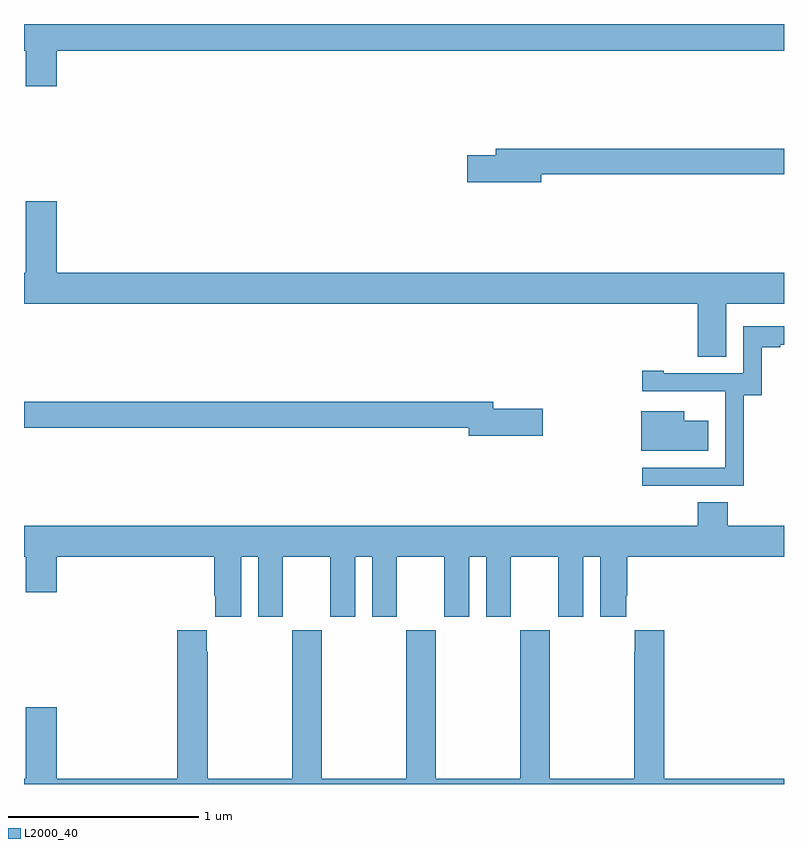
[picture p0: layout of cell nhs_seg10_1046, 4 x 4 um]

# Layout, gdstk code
import gdstk
lib = gdstk.Library(unit=1e-6, precision=1e-09)
def P(c, l, *ps):  # polygons
    for p in ps: c.add(gdstk.Polygon(p, *l))
L2000_40 = (2000, 40)

nhs_seg10_1046 = lib.new_cell('nhs_seg10_1046')
P(nhs_seg10_1046, L2000_40, [(165.172,1256.36),(169,1256.36),(169,1256.5),(165,1256.5),(165,1256.36),(165.008,1256.36),(165.008,1256.172),(165.172,1256.172)],
  [(167.722,1255.708),(169,1255.708),(169,1255.844),(167.483,1255.844),(167.483,1255.808),(167.334,1255.808),(167.334,1255.666),(167.722,1255.666)],
  [(168.697,1255.028),(169,1255.028),(169,1255.192),(165.172,1255.192),(165.172,1255.567),(165.008,1255.567),(165.008,1255.192),(165,1255.192),(165,1255.028),(168.545,1255.028),(168.545,1254.748),(168.697,1254.748)],
  [(168.789,1254.547),(168.883,1254.547),(168.883,1254.798),(168.979,1254.798),(168.979,1254.813),(169,1254.813),(169,1254.909),(168.786,1254.909),(168.786,1254.663),(168.367,1254.663),(168.367,1254.676),(168.255,1254.676),(168.255,1254.567),(168.689,1254.567),(168.689,1254.566),(168.69,1254.566),(168.69,1254.165),(168.255,1254.165),(168.255,1254.069),(168.789,1254.069)],
  [(167.731,1254.476),(167.47,1254.476),(167.47,1254.512),(165,1254.512),(165,1254.376),(167.342,1254.376),(167.342,1254.334),(167.731,1254.334)],
  [(168.601,1254.412),(168.475,1254.412),(168.475,1254.463),(168.248,1254.463),(168.248,1254.254),(168.601,1254.254)],
  [(166.144,1253.696),(166.232,1253.696),(166.232,1253.379),(166.363,1253.379),(166.363,1253.696),(166.613,1253.696),(166.613,1253.379),(166.744,1253.379),(166.744,1253.696),(166.832,1253.696),(166.832,1253.379),(166.963,1253.379),(166.963,1253.696),(167.213,1253.696),(167.213,1253.379),(167.344,1253.379),(167.344,1253.696),(167.432,1253.696),(167.432,1253.379),(167.563,1253.379),(167.563,1253.696),(167.813,1253.696),(167.813,1253.379),(167.944,1253.379),(167.944,1253.696),(168.032,1253.696),(168.032,1253.379),(168.169,1253.379),(168.169,1253.491),(168.176,1253.491),(168.176,1253.696),(169,1253.696),(169,1253.86),(168.705,1253.86),(168.705,1253.984),(168.545,1253.984),(168.545,1253.86),(165,1253.86),(165,1253.696),(165.008,1253.696),(165.008,1253.508),(165.172,1253.508),(165.172,1253.696),(166.001,1253.696),(166.001,1253.491),(166.007,1253.491),(166.007,1253.379),(166.144,1253.379)],
  [(169,1252.528),(168.371,1252.528),(168.371,1253.308),(168.215,1253.308),(168.215,1253.195),(168.211,1253.195),(168.211,1252.528),(167.766,1252.528),(167.766,1253.308),(167.611,1253.308),(167.611,1252.528),(167.166,1252.528),(167.166,1253.308),(167.011,1253.308),(167.011,1252.528),(166.566,1252.528),(166.566,1253.308),(166.411,1253.308),(166.411,1252.528),(165.966,1252.528),(165.966,1253.195),(165.961,1253.195),(165.961,1253.308),(165.806,1253.308),(165.806,1252.528),(165.172,1252.528),(165.172,1252.903),(165.008,1252.903),(165.008,1252.528),(165,1252.528),(165,1252.5),(169,1252.5)])

lib.write_gds('nhs_seg10_1046.gds')
